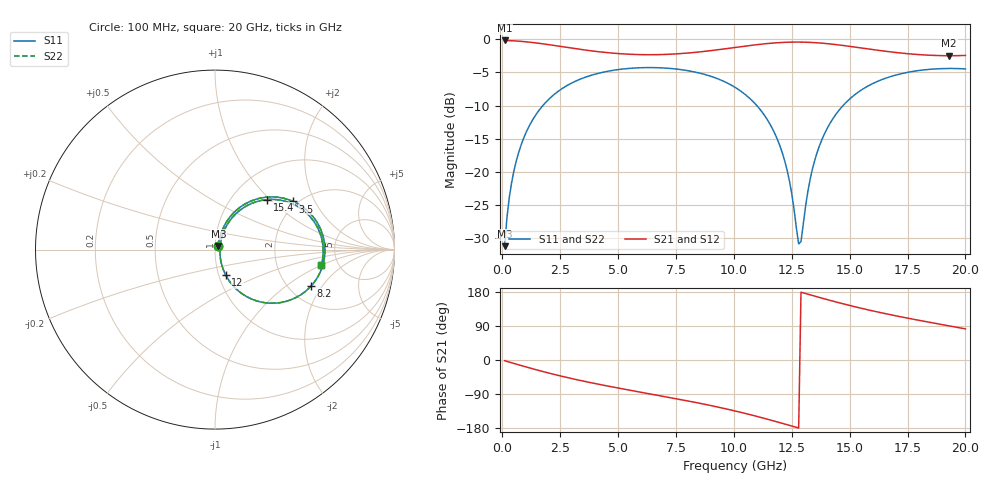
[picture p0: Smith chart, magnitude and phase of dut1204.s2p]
! Touchstone file exported from HFSS 2026.1.0
!  File:  C:/ffzhzh/LocalFiles/Ansys_Project_Files/temp_train_TSV_RDL_1204_1783318901_38704.aedt
!  Generated:  02:36:19 PM Jul  6, 2026
!  Design:  TSV_RDL
!  Project:  temp_train_TSV_RDL_1204_1783318901_38704
! Variables:
!  h_bsmrdl = 5.99um
!  h_ox = 20um
!  h_rdl = 5um
!  h_sub = 94.7um
!  h_tmrdl = 4.68um
!  h_tsv = 94.7um
!  h_via = 3um
!  l_bsmrdl = 516.69um
!  l_sub = 4664.06um
!  l_tmrdl = 652.15um
!  m_sub = 200um
!  pitch = 57.41um
!  r_tsv = 7.2um
!  s_tmrdl = 10um
!  w_bsmrdl = 12.51um
!  w_sub = 500um
!  w_tmrdl = 22.62um
!  x_tsv_center1 = 663.46um
!  x_tsv_center2 = 1192.66um
!  x_tsv_center3 = 1867.43um
!  x_tsv_center4 = 2396.63um
!  x_tsv_center5 = 3071.4um
!  x_tsv_center6 = 3600.6um
# GHz S MA R 50.000000
! Terminal data exported
! Port[1] = TM_RDL1_1_T1
! Port[2] = TM_RDL5_1_T1
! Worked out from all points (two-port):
!   200 points, 100 MHz to 20 GHz, reference 50 ohm
!   highest |S21| = -0.16 dB at 100 MHz (marker M1); lowest = -2.5 dB at 19.3 GHz (marker M2)
!   |S21| within 3 dB of the highest: start of sweep to end of sweep
!   lowest |S11| = -31.2 dB at 100 MHz (marker M3), VSWR 1.06, Z = 51.9 + j2.08 ohm
!   |S11| at or under -10 dB: start of sweep to 1.751 GHz; 10.99 GHz to 14.72 GHz (3.723 GHz wide, 29 % of centre)
!   |S22| runs from -31.2 to -4.3 dB; largest |S21 - S12| = 1.6e-14
!   S11 on the Smith chart (normalised r, x): 100 MHz: 1.04, +0.04; 3.5 GHz: 1.89, +1.37; 8.2 GHz: 2.61, -1.58; 12 GHz: 1.08, -0.32; 15.4 GHz: 1.44, +0.96; 20 GHz: 3.69, -1.00
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0.1  0.02742 47.1  0.9818 -1.9  0.9818 -1.9  0.02742 47.1
! Gamma 0 0 0 0
! Port Impedance 50 0 50 0
0.3  0.06347 66.9  0.979 -5.5  0.979 -5.5  0.06347 66.9
0.5  0.1012 69.5  0.9752 -9.1  0.9752 -9.1  0.1012 69.5
1.1  0.2108 64.6  0.9563 -19.6  0.9563 -19.6  0.2108 64.6
2.1  0.3656 50.4  0.9075 -35.9  0.9075 -35.9  0.3656 50.4
3.5  0.5116 31.6  0.8345 -55.7  0.8345 -55.7  0.5116 31.6
5.1  0.5944 12.9  0.7795 -75.1  0.7795 -75.1  0.5944 12.9
6.8  0.6103 -5.4  0.7677 -94.1  0.7677 -94.1  0.6103 -5.4
8.2  0.5725 -20.8  0.794 -110.2  0.794 -110.2  0.5725 -20.8
10.1  0.4293 -44.1  0.8713 -135.2  0.8713 -135.2  0.4293 -44.1
11.2  0.2857 -58.7  0.9211 -152.1  0.9211 -152.1  0.2857 -58.7
12  0.1551 -67.1  0.9466 -165.5  0.9466 -165.5  0.1551 -67.1
12.4  0.08548 -65.2  0.9531 -172.4  0.9531 -172.4  0.08546 -65.3
12.8  0.02854 -15.9  0.9547 -179.4  0.9547 -179.4  0.02841 -16.0
12.9  0.0297 19.3  0.9543 178.8  0.9543 178.8  0.02955 19.3
13.2  0.0716 59.7  0.9511 173.6  0.9511 173.6  0.07151 59.8
13.4  0.1059 63.8  0.9475 170.1  0.9475 170.1  0.1058 63.9
14.2  0.2397 59.2  0.9224 156.6  0.9224 156.6  0.2396 59.2
15.4  0.4028 43.8  0.8667 138.0  0.8667 138.0  0.4028 43.8
16.7  0.5193 27.6  0.8074 120.3  0.8074 120.3  0.5193 27.6
19.3  0.6031 -1.0  0.7531 90.0  0.7531 90.0  0.6031 -1.0
20  0.5984 -8.4  0.7564 82.1  0.7564 82.1  0.5984 -8.3
